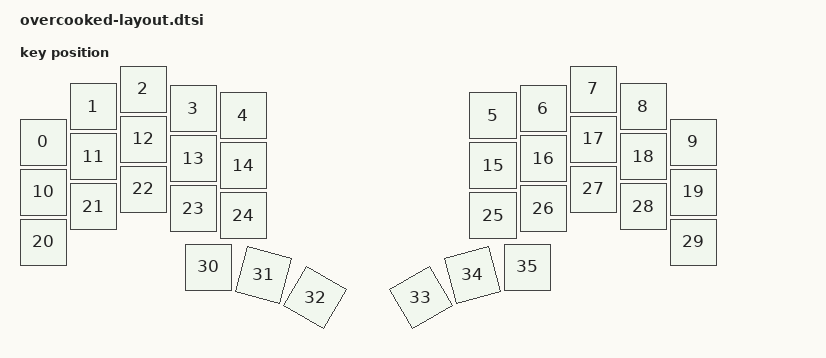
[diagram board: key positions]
#include <physical_layouts.dtsi>

/ {
    overcooked_physical_layout: overcooked_physical_layout {
        compatible = "zmk,physical-layout";
        display-name = "Overcooked_default";
        // kscan = <&kscan0>;
        transform = <&default_transform>;
        keys  //                     w   h    x    y     rot    rx    ry
            = <&key_physical_attrs 100 100    0  106       0     0     0>
            , <&key_physical_attrs 100 100  100   35       0     0     0>
            , <&key_physical_attrs 100 100  200    0       0     0     0>
            , <&key_physical_attrs 100 100  300   39       0     0     0>
            , <&key_physical_attrs 100 100  400   53       0     0     0>
            , <&key_physical_attrs 100 100  900   53       0     0     0>
            , <&key_physical_attrs 100 100 1000   39       0     0     0>
            , <&key_physical_attrs 100 100 1100    0       0     0     0>
            , <&key_physical_attrs 100 100 1200   35       0     0     0>
            , <&key_physical_attrs 100 100 1300  106       0     0     0>
            , <&key_physical_attrs 100 100    0  206       0     0     0>
            , <&key_physical_attrs 100 100  100  135       0     0     0>
            , <&key_physical_attrs 100 100  200  100       0     0     0>
            , <&key_physical_attrs 100 100  300  139       0     0     0>
            , <&key_physical_attrs 100 100  400  153       0     0     0>
            , <&key_physical_attrs 100 100  900  153       0     0     0>
            , <&key_physical_attrs 100 100 1000  139       0     0     0>
            , <&key_physical_attrs 100 100 1100  100       0     0     0>
            , <&key_physical_attrs 100 100 1200  135       0     0     0>
            , <&key_physical_attrs 100 100 1300  206       0     0     0>
            , <&key_physical_attrs 100 100    0  306       0     0     0>
            , <&key_physical_attrs 100 100  100  235       0     0     0>
            , <&key_physical_attrs 100 100  200  200       0     0     0>
            , <&key_physical_attrs 100 100  300  239       0     0     0>
            , <&key_physical_attrs 100 100  400  253       0     0     0>
            , <&key_physical_attrs 100 100  900  253       0     0     0>
            , <&key_physical_attrs 100 100 1000  239       0     0     0>
            , <&key_physical_attrs 100 100 1100  200       0     0     0>
            , <&key_physical_attrs 100 100 1200  235       0     0     0>
            , <&key_physical_attrs 100 100 1300  306       0     0     0>
            , <&key_physical_attrs 100 100  331  356       0     0     0>
            , <&key_physical_attrs 100 100  441  372    1500   491   422>
            , <&key_physical_attrs 100 100  544  417    3000   594   467>
            , <&key_physical_attrs 100 100  756  417 (-3000)   806   467>
            , <&key_physical_attrs 100 100  859  372 (-1500)   909   422>
            , <&key_physical_attrs 100 100  969  356       0     0     0>
            ;

    };
    

    position_map {
        compatible = "zmk,physical-layout-position-map";

        overcooked_physical_layout {
            physical-layout = <&overcooked_physical_layout>;
            positions = <>;
        };
    };
};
